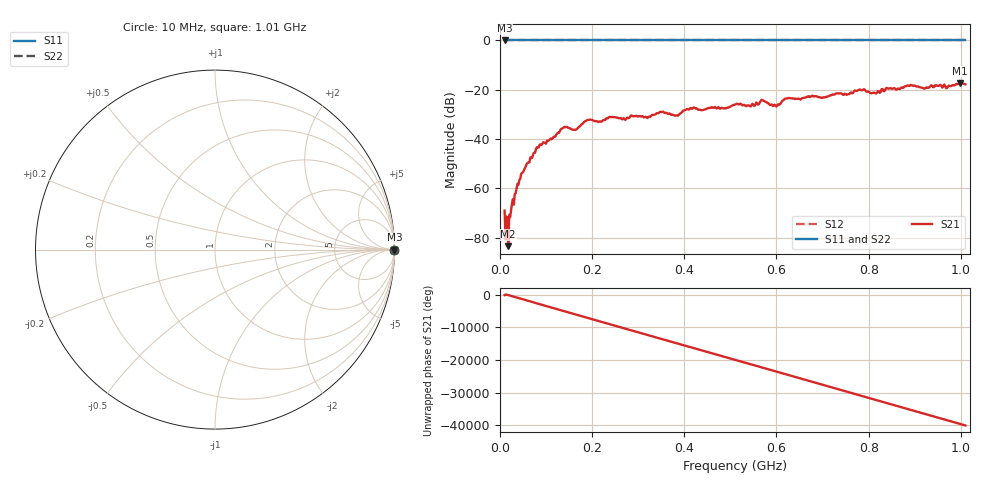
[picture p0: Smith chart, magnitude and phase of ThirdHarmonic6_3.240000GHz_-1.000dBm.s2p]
! 8/17/2025 9:56:41 AM
! C:\ANRITSUVNA\TEMP\TEMP.S2P
! CHANNEL.1
! TR.MEASUREMENT
! RAW.DATA
! RF.CORRECTION.OFF
! AVERAGING.OFF
! IF.BANDWIDTH: 5KHZ
! SWEEPTYPE:  FREQ.SWEEP(Linear)
! Reference Plane Port Info
! PORT:  PORT1  PORT2
! DISTANCE:  0  m  0  m
! TIME:  0  s  0  s
! PHASE.OFFSET:  0  deg.  0  deg.
! LOSS:  0  dB  0  dB
! REF.LOSS:  0  dB  0  dB
! REF.FREQ:  0  Hz  0  Hz
! Power Info
! POWER:  -20  dBm  -20  dBm
! EFF.POWER:  -20  dBm  -20  dBm
! SOURCE.ATTEN:  0  dB  0  dB
! TEST.ATTEN:  0  dB  0  dB
# GHZ S RI R 50.0
! FREQ.GHZ  S11RE  S11IM  S21RE  S21IM  S12RE  S12IM  S22RE  S22IM
!; PortSelection: Port_12
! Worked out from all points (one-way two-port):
!   501 points, 10 MHz to 1.01 GHz, reference 50 ohm
!   highest |S21| = -17.24 dB at 998 MHz (marker M1); lowest = -83.4 dB at 18 MHz (marker M2)
!   lowest |S11| = 0.0 dB at 10 MHz (marker M3)
!   |S11| at or under -10 dB: nowhere
!   |S22| runs from 0.0 to 0.0 dB; largest |S21 - S12| = 1.1
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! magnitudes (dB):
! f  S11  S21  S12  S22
! 10 MHz  0.0  -69.0  0.0  0.0
! 14 MHz  0.0  -71.4  0.0  0.0
! 18 MHz  0.0  -83.4  0.0  0.0
! 46 MHz  0.0  -54.0  0.0  0.0
! 82 MHz  0.0  -43.5  0.0  0.0
! 136 MHz  0.0  -35.6  0.0  0.0
! 162 MHz  0.0  -36.2  0.0  0.0
! 178 MHz  0.0  -33.9  0.0  0.0
! 194 MHz  0.0  -32.1  0.0  0.0
! 322 MHz  0.0  -31.0  0.0  0.0
! 344 MHz  0.0  -29.5  0.0  0.0
! 382 MHz  0.0  -30.4  0.0  0.0
! 416 MHz  0.0  -27.7  0.0  0.0
! 510 MHz  0.0  -26.0  0.0  0.0
! 548 MHz  0.0  -25.7  0.0  0.0
! 570 MHz  0.0  -24.2  0.0  0.0
! 596 MHz  0.0  -26.1  0.0  0.0
! 622 MHz  0.0  -23.5  0.0  0.0
! 678 MHz  0.0  -22.4  0.0  0.0
! 844 MHz  0.0  -19.5  0.0  0.0
! 998 MHz  0.0  -17.2  0.0  0.0
! 1.01 GHz  0.0  -17.8  0.0  0.0
